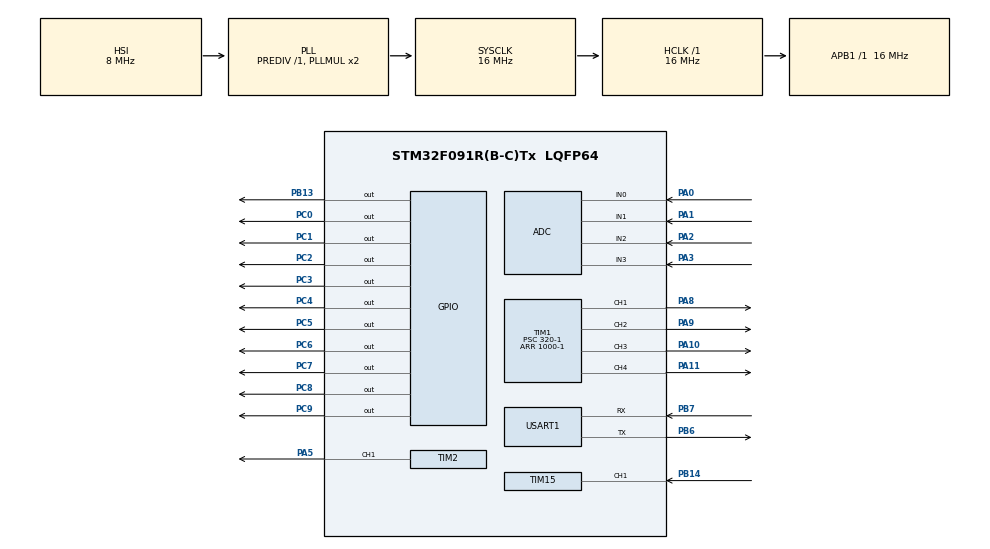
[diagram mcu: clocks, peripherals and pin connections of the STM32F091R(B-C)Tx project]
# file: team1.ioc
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Mcu.Family=STM32F0
Mcu.Name=STM32F091R(B-C)Tx
Mcu.Package=LQFP64
NVIC.TIM15_IRQn=true\:0\:0\:false\:false\:true\:true\:true\:true
NVIC.USART1_IRQn=true\:0\:0\:false\:false\:true\:true\:true\:true
PA0.Mode=IN0
PA0.Signal=ADC_IN0
PA1.Mode=IN1
PA1.Signal=ADC_IN1
PA10.Signal=S_TIM1_CH3
PA11.Signal=S_TIM1_CH4
PA13.Mode=Serial_Wire
PA13.Signal=SYS_SWDIO
PA14.Mode=Serial_Wire
PA14.Signal=SYS_SWCLK
PA2.Mode=IN2
PA2.Signal=ADC_IN2
PA3.Mode=IN3
PA3.Signal=ADC_IN3
PA5.Signal=S_TIM2_CH1_ETR
PA8.Signal=S_TIM1_CH1
PA9.Signal=S_TIM1_CH2
PB13.Signal=GPIO_Output
PB14.Signal=S_TIM15_CH1
PB6.Mode=Asynchronous
PB6.Signal=USART1_TX
PB7.Mode=Asynchronous
PB7.Signal=USART1_RX
PC0.Signal=GPIO_Output
PC1.Signal=GPIO_Output
PC2.Signal=GPIO_Output
PC3.Signal=GPIO_Output
PC4.Signal=GPIO_Output
PC5.Signal=GPIO_Output
PC6.Signal=GPIO_Output
PC7.Signal=GPIO_Output
PC8.Signal=GPIO_Output
PC9.Signal=GPIO_Output
ProjectManager.HeapSize=0x200
ProjectManager.StackSize=0x400
ProjectManager.TargetToolchain=STM32CubeIDE
RCC.AHBFreq_Value=16000000
RCC.APB1Freq_Value=16000000
RCC.APB1TimFreq_Value=16000000
RCC.HCLKFreq_Value=16000000
RCC.SYSCLKFreq_VALUE=16000000
RCC.SYSCLKSource=RCC_SYSCLKSOURCE_PLLCLK
SH.S_TIM15_CH1.0=TIM15_CH1,Input_Capture1_from_TI1
SH.S_TIM1_CH1.0=TIM1_CH1,PWM Generation1 CH1
SH.S_TIM1_CH2.0=TIM1_CH2,PWM Generation2 CH2
SH.S_TIM1_CH3.0=TIM1_CH3,PWM Generation3 CH3
SH.S_TIM1_CH4.0=TIM1_CH4,PWM Generation4 CH4
SH.S_TIM2_CH1_ETR.0=TIM2_CH1,PWM Generation1 CH1
TIM1.Channel-PWM\ Generation1\ CH1=TIM_CHANNEL_1
TIM1.Channel-PWM\ Generation2\ CH2=TIM_CHANNEL_2
TIM1.Channel-PWM\ Generation3\ CH3=TIM_CHANNEL_3
TIM1.Channel-PWM\ Generation4\ CH4=TIM_CHANNEL_4
TIM1.Period=1000-1
TIM1.Prescaler=320-1
TIM1.Pulse-PWM\ Generation1\ CH1=500-1
TIM1.Pulse-PWM\ Generation2\ CH2=500-1
TIM15.Channel-Input_Capture1_from_TI1=TIM_CHANNEL_1
TIM15.Prescaler=16-1
TIM2.Channel-PWM\ Generation1\ CH1=TIM_CHANNEL_1
USART1.VirtualMode-Asynchronous=VM_ASYNC
VP_TIM15_VS_ClockSourceINT.Mode=Internal
VP_TIM1_VS_ClockSourceINT.Mode=Internal
VP_TIM2_VS_ClockSourceINT.Mode=Internal
VP_TIM3_VS_ClockSourceINT.Mode=Internal
board=custom

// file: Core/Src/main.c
/* USER CODE BEGIN Header */
/**
  ******************************************************************************
  * @file           : main.c
  * @brief          : Main program body
  ******************************************************************************
  * @attention
  *
  * Copyright (c) 2024 STMicroelectronics.
  * All rights reserved.
  *
  * This software is licensed under terms that can be found in the LICENSE file
  * in the root directory of this software component.
  * If no LICENSE file comes with this software, it is provided AS-IS.
  *
  ******************************************************************************
  */
/* USER CODE END Header */
#include "main.h"
#include "adc.h"
#include "tim.h"
#include "usart.h"
#include "gpio.h"

/* USER CODE BEGIN Includes */
#include "protocol.h"
#include "servo.h"
#include "sonic.h"
#include "fnd.h"

#include <stdio.h>
#include <string.h>

/* USER CODE END Includes */

void SystemClock_Config(void);

int main(void)
{

  /* MCU Configuration--------------------------------------------------------*/

  /* Reset of all peripherals, Initializes the Flash interface and the Systick. */
  HAL_Init();

  /* Configure the system clock */
  SystemClock_Config();

  /* Initialize all configured peripherals */
  MX_GPIO_Init();
  MX_USART1_UART_Init();
  MX_TIM1_Init();
  MX_ADC_Init();
  MX_TIM15_Init();
  MX_TIM2_Init();
  MX_TIM3_Init();
  /* USER CODE BEGIN 2 */
  Uart1_Init();
  Servo_Init(&htim1,TIM_CHANNEL_1);
  Servo_Init(&htim1,TIM_CHANNEL_2);
  Servo_Init(&htim1,TIM_CHANNEL_3);
  Servo_Init(&htim1,TIM_CHANNEL_4);

  //
  HAL_TIM_IC_Start_IT(&htim15, TIM_CHANNEL_1);

  /* USER CODE END 2 */

  /* Infinite loop */
  while (1)
  {

    /* USER CODE BEGIN 3 */
	  //Sonic_Read();
	  //DeadZone = 2;

	  //uint8_t buffer[256];
	  //sprintf((char *)buffer, "check : %d\n", num_port[0]);
	  //HAL_UART_Transmit(&huart1, buffer, strlen((char *)buffer), 100);

	  for(int i = 0; i < 10; i++)
	  {
		  GPIOC -> ODR &= 0xff80;
		  GPIOC -> ODR |= num[i];
		  HAL_Delay(500);
	  }

	  //HAL_GPIO_WritePin(num_port[0], num_pin[0], 1);
	  //FND_Posision_Show_Num(1, 0);

  }
  /* USER CODE END 3 */
}

void SystemClock_Config(void)
{
  RCC_OscInitTypeDef RCC_OscInitStruct = {0};
  RCC_ClkInitTypeDef RCC_ClkInitStruct = {0};
  RCC_PeriphCLKInitTypeDef PeriphClkInit = {0};

  /** Initializes the RCC Oscillators according to the specified parameters
  * in the RCC_OscInitTypeDef structure.
  */
  RCC_OscInitStruct.OscillatorType = RCC_OSCILLATORTYPE_HSI|RCC_OSCILLATORTYPE_HSI14;
  RCC_OscInitStruct.HSIState = RCC_HSI_ON;
  RCC_OscInitStruct.HSI14State = RCC_HSI14_ON;
  RCC_OscInitStruct.HSICalibrationValue = RCC_HSICALIBRATION_DEFAULT;
  RCC_OscInitStruct.HSI14CalibrationValue = 16;
  RCC_OscInitStruct.PLL.PLLState = RCC_PLL_ON;
  RCC_OscInitStruct.PLL.PLLSource = RCC_PLLSOURCE_HSI;
  RCC_OscInitStruct.PLL.PLLMUL = RCC_PLL_MUL2;
  RCC_OscInitStruct.PLL.PREDIV = RCC_PREDIV_DIV1;
  if (HAL_RCC_OscConfig(&RCC_OscInitStruct) != HAL_OK)
  {
    Error_Handler();
  }

  /** Initializes the CPU, AHB and APB buses clocks
  */
  RCC_ClkInitStruct.ClockType = RCC_CLOCKTYPE_HCLK|RCC_CLOCKTYPE_SYSCLK
                              |RCC_CLOCKTYPE_PCLK1;
  RCC_ClkInitStruct.SYSCLKSource = RCC_SYSCLKSOURCE_PLLCLK;
  RCC_ClkInitStruct.AHBCLKDivider = RCC_SYSCLK_DIV1;
  RCC_ClkInitStruct.APB1CLKDivider = RCC_HCLK_DIV1;

  if (HAL_RCC_ClockConfig(&RCC_ClkInitStruct, FLASH_LATENCY_0) != HAL_OK)
  {
    Error_Handler();
  }
  PeriphClkInit.PeriphClockSelection = RCC_PERIPHCLK_USART1;
  PeriphClkInit.Usart1ClockSelection = RCC_USART1CLKSOURCE_PCLK1;
  if (HAL_RCCEx_PeriphCLKConfig(&PeriphClkInit) != HAL_OK)
  {
    Error_Handler();
  }
}

void Error_Handler(void)
{
  __disable_irq();
  while (1)
  {
  }
}
